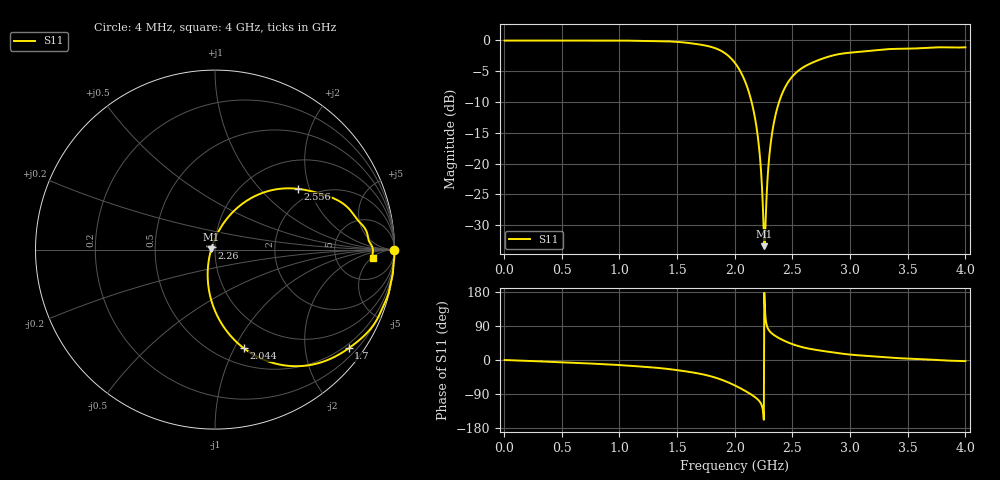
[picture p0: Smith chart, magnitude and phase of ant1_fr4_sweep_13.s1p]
! TOUCHSTONE file generated by CST MICROWAVE STUDIO
! Date and time: Fri May  6 15:38:57 2022
! Project name: ant1_ceramic_sweep_fr4.cst
! Parameters = {e=0.035; h=1.6; i=0.8; l1=0.5; l2=23.056; ls=80; wl=1.7; ws=30}
! Header version: 2018
! Port assignment regex: !\s*Touchstone port\s*([0-9]+)\s*=\s*(CST MWS port|CST DS port)\s*([0-9]+|Zmin|Zmax)\s*\(\"(.*)\"\)(\s*mode\s*([0-9]+))?.*
! Touchstone port assignment:
! Touchstone port 1 = CST MWS port 1 ("")
# GHz S DB R 50
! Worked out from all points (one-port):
!   1000 points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, 4 MHz to 4 GHz, reference 50 ohm
!   lowest |S11| = -33.4 dB at 2.256 GHz (marker M1), VSWR 1.04, Z = 47.9 + j0.104 ohm
!   |S11| at or under -10 dB: 2.146 GHz to 2.384 GHz (238 MHz wide, 10.5 % of centre)
!   S11 on the Smith chart (normalised r, x): 4 MHz: open; 1.7 GHz: 0.39, -2.99; 2.044 GHz: 0.67, -1.09; 2.26 GHz: 0.96, +0.02; 2.556 GHz: 1.66, +1.67; 4 GHz: 13, -5
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0.004  -0.02 -0.0
0.504  -0.01 -5.9
1.004  -0.02 -13.4
1.504  -0.24 -26.9
1.7  -0.67 -36.5
1.848  -1.38 -48.1
1.932  -2.30 -57.6
2.004  -3.71 -67.6
2.044  -4.86 -73.8
2.124  -8.50 -87.6
2.18  -13.08 -99.0
2.212  -17.64 -108.1
2.224  -20.21 -113.3
2.244  -27.16 -132.6
2.256  -33.42 177.1
2.26  -33.28 146.4
2.272  -27.03 98.9
2.292  -20.37 80.4
2.304  -17.93 75.4
2.32  -15.51 70.6
2.344  -12.91 65.1
2.412  -8.59 53.2
2.504  -5.75 41.4
2.556  -4.85 36.3
2.784  -2.80 23.0
3.004  -1.98 14.2
3.504  -1.34 3.6
4  -1.12 -3.0
